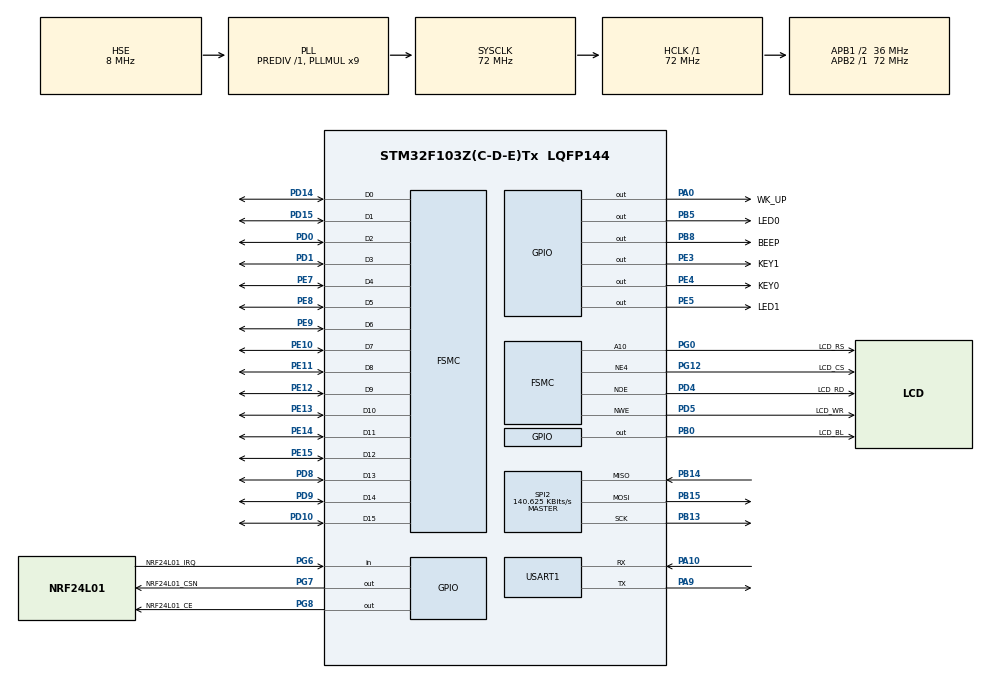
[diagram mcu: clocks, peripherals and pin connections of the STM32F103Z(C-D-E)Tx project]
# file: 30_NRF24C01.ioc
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FSMC.AddressSetupTime1=0
FSMC.BusTurnAroundDuration1=15
FSMC.DataSetupTime1=15
FSMC.ExtendedAddressSetupTime1=0
FSMC.ExtendedDataSetupTime1=1
FSMC.ExtendedMode1=FSMC_EXTENDED_MODE_ENABLE
Mcu.Family=STM32F1
Mcu.Name=STM32F103Z(C-D-E)Tx
Mcu.Package=LQFP144
NVIC.PriorityGroup=NVIC_PRIORITYGROUP_2
NVIC.USART1_IRQn=true\:2\:2\:true\:false\:true\:true\:true\:true
OSC_IN.Mode=HSE-External-Oscillator
OSC_IN.Signal=RCC_OSC_IN
OSC_OUT.Mode=HSE-External-Oscillator
OSC_OUT.Signal=RCC_OSC_OUT
PA0-WKUP.GPIO_Label=WK_UP
PA0-WKUP.GPIO_PuPd=GPIO_PULLDOWN
PA0-WKUP.GPIO_Speed=GPIO_SPEED_FREQ_HIGH
PA0-WKUP.PinState=GPIO_PIN_RESET
PA0-WKUP.Signal=GPIO_Output
PA10.Mode=Asynchronous
PA10.Signal=USART1_RX
PA13.Mode=Serial_Wire
PA13.Signal=SYS_JTMS-SWDIO
PA14.Mode=Serial_Wire
PA14.Signal=SYS_JTCK-SWCLK
PA9.Mode=Asynchronous
PA9.Signal=USART1_TX
PB0.GPIO_Label=LCD_BL
PB0.GPIO_PuPd=GPIO_PULLUP
PB0.GPIO_Speed=GPIO_SPEED_FREQ_HIGH
PB0.PinState=GPIO_PIN_SET
PB0.Signal=GPIO_Output
PB13.Mode=Full_Duplex_Master
PB13.Signal=SPI2_SCK
PB14.Mode=Full_Duplex_Master
PB14.Signal=SPI2_MISO
PB15.Mode=Full_Duplex_Master
PB15.Signal=SPI2_MOSI
PB5.GPIO_Label=LED0
PB5.GPIO_PuPd=GPIO_PULLUP
PB5.GPIO_Speed=GPIO_SPEED_FREQ_HIGH
PB5.PinState=GPIO_PIN_SET
PB5.Signal=GPIO_Output
PB8.GPIO_Label=BEEP
PB8.GPIO_ModeDefaultOutputPP=GPIO_MODE_OUTPUT_PP
PB8.GPIO_PuPd=GPIO_PULLDOWN
PB8.GPIO_Speed=GPIO_SPEED_FREQ_HIGH
PB8.PinState=GPIO_PIN_RESET
PB8.Signal=GPIO_Output
PC14-OSC32_IN.Mode=LSE-External-Oscillator
PC14-OSC32_IN.Signal=RCC_OSC32_IN
PC15-OSC32_OUT.Mode=LSE-External-Oscillator
PC15-OSC32_OUT.Signal=RCC_OSC32_OUT
PD0.Signal=FSMC_D2_DA2
PD1.Signal=FSMC_D3_DA3
PD10.Signal=FSMC_D15_DA15
PD14.Signal=FSMC_D0_DA0
PD15.Signal=FSMC_D1_DA1
PD4.GPIO_Label=LCD_RD
PD4.Signal=FSMC_NOE
PD5.GPIO_Label=LCD_WR
PD5.Signal=FSMC_NWE
PD8.Signal=FSMC_D13_DA13
PD9.Signal=FSMC_D14_DA14
PE10.Signal=FSMC_D7_DA7
PE11.Signal=FSMC_D8_DA8
PE12.Signal=FSMC_D9_DA9
PE13.Signal=FSMC_D10_DA10
PE14.Signal=FSMC_D11_DA11
PE15.Signal=FSMC_D12_DA12
PE3.GPIO_Label=KEY1
PE3.GPIO_PuPd=GPIO_PULLUP
PE3.GPIO_Speed=GPIO_SPEED_FREQ_HIGH
PE3.PinState=GPIO_PIN_SET
PE3.Signal=GPIO_Output
PE4.GPIO_Label=KEY0
PE4.GPIO_PuPd=GPIO_PULLUP
PE4.GPIO_Speed=GPIO_SPEED_FREQ_HIGH
PE4.PinState=GPIO_PIN_SET
PE4.Signal=GPIO_Output
PE5.GPIO_Label=LED1
PE5.GPIO_PuPd=GPIO_PULLUP
PE5.GPIO_Speed=GPIO_SPEED_FREQ_HIGH
PE5.PinState=GPIO_PIN_SET
PE5.Signal=GPIO_Output
PE7.Signal=FSMC_D4_DA4
PE8.Signal=FSMC_D5_DA5
PE9.Signal=FSMC_D6_DA6
PG0.GPIO_Label=LCD_RS
PG0.Signal=FSMC_A10
PG12.GPIO_Label=LCD_CS
PG12.Mode=NorPsramChipSelect4_1
PG12.Signal=FSMC_NE4
PG6.GPIO_Label=NRF24L01_IRQ
PG6.GPIO_PuPd=GPIO_PULLUP
PG6.Signal=GPIO_Input
PG7.GPIO_Label=NRF24L01_CSN
PG7.GPIO_PuPd=GPIO_PULLUP
PG7.GPIO_Speed=GPIO_SPEED_FREQ_HIGH
PG7.PinState=GPIO_PIN_SET
PG7.Signal=GPIO_Output
PG8.GPIO_Label=NRF24L01_CE
PG8.GPIO_PuPd=GPIO_PULLUP
PG8.GPIO_Speed=GPIO_SPEED_FREQ_HIGH
PG8.PinState=GPIO_PIN_SET
PG8.Signal=GPIO_Output
ProjectManager.HeapSize=0x200
ProjectManager.StackSize=0x400
ProjectManager.TargetToolchain=STM32CubeIDE
RCC.AHBFreq_Value=72000000
RCC.APB1CLKDivider=RCC_HCLK_DIV2
RCC.APB1Freq_Value=36000000
RCC.APB1TimFreq_Value=72000000
RCC.APB2Freq_Value=72000000
RCC.APB2TimFreq_Value=72000000
RCC.HCLKFreq_Value=72000000
RCC.PLLMUL=RCC_PLL_MUL9
RCC.PLLSourceVirtual=RCC_PLLSOURCE_HSE
RCC.SYSCLKFreq_VALUE=72000000
RCC.SYSCLKSource=RCC_SYSCLKSOURCE_PLLCLK
RCC.USBFreq_Value=72000000
SH.FSMC_A10.0=FSMC_A10,A10_1
SH.FSMC_D0_DA0.0=FSMC_D0,16b-d1
SH.FSMC_D10_DA10.0=FSMC_D10,16b-d1
SH.FSMC_D11_DA11.0=FSMC_D11,16b-d1
SH.FSMC_D12_DA12.0=FSMC_D12,16b-d1
SH.FSMC_D13_DA13.0=FSMC_D13,16b-d1
SH.FSMC_D14_DA14.0=FSMC_D14,16b-d1
SH.FSMC_D15_DA15.0=FSMC_D15,16b-d1
SH.FSMC_D1_DA1.0=FSMC_D1,16b-d1
SH.FSMC_D2_DA2.0=FSMC_D2,16b-d1
SH.FSMC_D3_DA3.0=FSMC_D3,16b-d1
SH.FSMC_D4_DA4.0=FSMC_D4,16b-d1
SH.FSMC_D5_DA5.0=FSMC_D5,16b-d1
SH.FSMC_D6_DA6.0=FSMC_D6,16b-d1
SH.FSMC_D7_DA7.0=FSMC_D7,16b-d1
SH.FSMC_D8_DA8.0=FSMC_D8,16b-d1
SH.FSMC_D9_DA9.0=FSMC_D9,16b-d1
SH.FSMC_NOE.0=FSMC_NOE,Lcd1
SH.FSMC_NWE.0=FSMC_NWE,Lcd1
SPI2.BaudRatePrescaler=SPI_BAUDRATEPRESCALER_256
SPI2.CLKPhase=SPI_PHASE_2EDGE
SPI2.CLKPolarity=SPI_POLARITY_HIGH
SPI2.CalculateBaudRate=140.625 KBits/s
SPI2.Direction=SPI_DIRECTION_2LINES
SPI2.Mode=SPI_MODE_MASTER
SPI2.VirtualType=VM_MASTER
USART1.VirtualMode=VM_ASYNC
board=custom

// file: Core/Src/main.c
/* USER CODE BEGIN Header */

/* USER CODE END Header */
#include "main.h"
#include "spi.h"
#include "usart.h"
#include "gpio.h"
#include "fsmc.h"

/* USER CODE BEGIN Includes */
#include "../../BSP/LED/led.h"
#include "../../BSP/KEY/key.h"
#include "../../BSP/LCD/lcd.h"
#include "../../BSP/NRF24L01/nrf24l01.h"
#include "../../SYSTEM/delay/delay.h"
/* USER CODE END Includes */

void SystemClock_Config(void);

int main(void)
{
  /* USER CODE BEGIN 1 */
    uint8_t key, mode;
    uint16_t t = 0;
    uint8_t tmp_buf[33];
  /* USER CODE END 1 */

  /* MCU Configuration--------------------------------------------------------*/

  /* Reset of all peripherals, Initializes the Flash interface and the Systick. */
  HAL_Init();

  /* Configure the system clock */
  SystemClock_Config();

  /* USER CODE BEGIN SysInit */
  delay_init(72);						   /* 初始化延时函数 */
  /* USER CODE END SysInit */

  /* Initialize all configured peripherals */
  MX_GPIO_Init();
  MX_FSMC_Init();
  MX_USART1_UART_Init();
  MX_SPI2_Init();
  /* USER CODE BEGIN 2 */
  lcd_init();                                         /* 初始化LCD */
  nrf24l01_init();                    /* 初始化NRF24L01 */

  lcd_show_string(30, 50, 200, 16, 16, "STM32", RED);
  lcd_show_string(30, 70, 200, 16, 16, "NRF24L01 TEST", RED);
  lcd_show_string(30, 90, 200, 16, 16, "ATOM@ALIENTEK", RED);
  while (nrf24l01_check()) /* 检查NRF24L01是否在线 */
  {
      lcd_show_string(30, 110, 200, 16, 16, "NRF24L01 Error", RED);
      delay_ms(200);
      lcd_fill(30, 110, 239, 130 + 16, WHITE);
      delay_ms(200);
  }

  lcd_show_string(30, 110, 200, 16, 16, "NRF24L01 OK", RED);
  /* USER CODE END 2 */

  /* Infinite loop */
  /* USER CODE BEGIN WHILE */
  while (1)
  {
	  key = key_scan(0);

	  if (key == KEY0_PRES)
	  {
		  mode = 0; /* 接收模式 */
		  break;
	  }
	  else if (key == KEY1_PRES)
	  {
		  mode = 1; /* 发送模式 */
		  break;
	  }

	  t++;

	  if (t == 100) /* 显示提示信息 */
	  {
		  lcd_show_string(10, 130, 230, 16, 16, "KEY0:RX_Mode  KEY1:TX_Mode", RED);
	  }

	  if (t == 200) /* 关闭提示信息 */
	  {
		  lcd_fill(10, 130, 230, 150 + 16, WHITE);
		  t = 0;
	  }

	  delay_ms(5);
  }

  lcd_fill(10, 130, 240, 166, WHITE); /* 清空上面的显示 */

  if (mode == 0) /* RX模式 */
  {
	  lcd_show_string(30, 130, 200, 16, 16, "NRF24L01 RX_Mode", BLUE);
	  lcd_show_string(30, 150, 200, 16, 16, "Received DATA:", BLUE);
	  nrf24l01_rx_mode(); /* 进入RX模式 */

	  while (1)
	  {
		  if (nrf24l01_rx_packet(tmp_buf) == 0) /* 一旦接收到信息,则显示出来. */
		  {
			  tmp_buf[32] = 0; /* 加入字符串结束符 */
			  lcd_show_string(0, 170, lcddev.width - 1, 32, 16, (char *)tmp_buf, BLUE);
		  }
		  else
			  delay_us(100);

		  t++;

		  if (t == 10000) /* 大约1s钟改变一次状态 */
		  {
			  t = 0;
			  LED0_TOGGLE();
		  }
	  }
  }
  else /* TX模式 */
  {
	  lcd_show_string(30, 130, 200, 16, 16, "NRF24L01 TX_Mode", BLUE);
	  nrf24l01_tx_mode(); /* 进入TX模式 */
	  mode = ' ';         /* 从空格键开始发送 */

	  while (1)
	  {
		  if (nrf24l01_tx_packet(tmp_buf) == 0) /* 发送成功 */
		  {
			  lcd_show_string(30, 150, 239, 32, 16, "Sended DATA:", BLUE);
			  lcd_show_string(0, 170, lcddev.width - 1, 32, 16, (char *)tmp_buf, BLUE);
			  key = mode;

			  for (t = 0; t < 32; t++)
			  {
				  key++;

				  if (key > ('~'))
					  key = ' ';

				  tmp_buf[t] = key;
			  }

			  mode++;

			  if (mode > '~')
				  mode = ' ';

			  tmp_buf[32] = 0; /* 加入结束符 */
		  }
		  else
		  {
			  lcd_fill(0, 150, lcddev.width, 170 + 16 * 3, WHITE); /* 清空显示 */
			  lcd_show_string(30, 150, lcddev.width - 1, 32, 16, "Send Failed ", BLUE);
		  }

		  LED0_TOGGLE();
		  delay_ms(200);
	  }

    /* USER CODE END WHILE */

  }
}

void SystemClock_Config(void)
{
  RCC_OscInitTypeDef RCC_OscInitStruct = {0};
  RCC_ClkInitTypeDef RCC_ClkInitStruct = {0};

  /** Initializes the RCC Oscillators according to the specified parameters
  * in the RCC_OscInitTypeDef structure.
  */
  RCC_OscInitStruct.OscillatorType = RCC_OSCILLATORTYPE_HSE;
  RCC_OscInitStruct.HSEState = RCC_HSE_ON;
  RCC_OscInitStruct.HSEPredivValue = RCC_HSE_PREDIV_DIV1;
  RCC_OscInitStruct.HSIState = RCC_HSI_ON;
  RCC_OscInitStruct.PLL.PLLState = RCC_PLL_ON;
  RCC_OscInitStruct.PLL.PLLSource = RCC_PLLSOURCE_HSE;
  RCC_OscInitStruct.PLL.PLLMUL = RCC_PLL_MUL9;
  if (HAL_RCC_OscConfig(&RCC_OscInitStruct) != HAL_OK)
  {
    Error_Handler();
  }

  /** Initializes the CPU, AHB and APB buses clocks
  */
  RCC_ClkInitStruct.ClockType = RCC_CLOCKTYPE_HCLK|RCC_CLOCKTYPE_SYSCLK
                              |RCC_CLOCKTYPE_PCLK1|RCC_CLOCKTYPE_PCLK2;
  RCC_ClkInitStruct.SYSCLKSource = RCC_SYSCLKSOURCE_PLLCLK;
  RCC_ClkInitStruct.AHBCLKDivider = RCC_SYSCLK_DIV1;
  RCC_ClkInitStruct.APB1CLKDivider = RCC_HCLK_DIV2;
  RCC_ClkInitStruct.APB2CLKDivider = RCC_HCLK_DIV1;

  if (HAL_RCC_ClockConfig(&RCC_ClkInitStruct, FLASH_LATENCY_2) != HAL_OK)
  {
    Error_Handler();
  }
}

void Error_Handler(void)
{
  __disable_irq();
  while (1)
  {
  }
}
